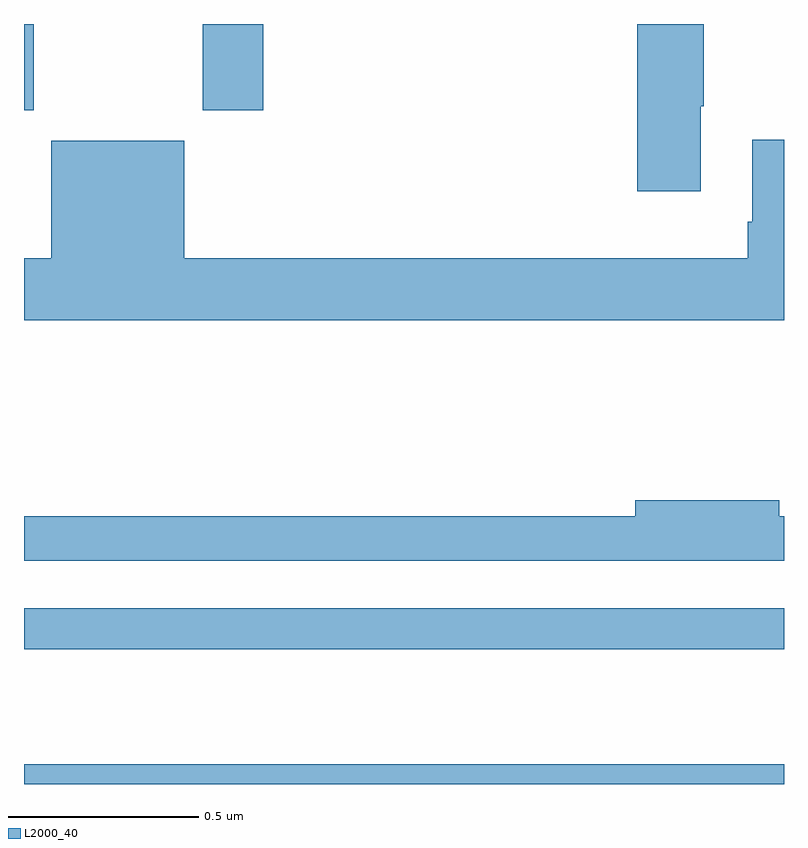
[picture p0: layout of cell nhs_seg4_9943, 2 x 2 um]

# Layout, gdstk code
import gdstk
lib = gdstk.Library(unit=1e-6, precision=1e-09)
def R(c, l, rs):  # rectangles x0, y0, x1, y1
    for r in rs: c.add(gdstk.rectangle(r[:2], r[2:], *l))
def P(c, l, *ps):  # polygons
    for p in ps: c.add(gdstk.Polygon(p, *l))
L2000_40 = (2000, 40)

nhs_seg4_9943 = lib.new_cell('nhs_seg4_9943')
R(nhs_seg4_9943, L2000_40, [(233,828.9,235,828.952), (233,829.254,235,829.362), (233,830.673,233.025,830.9), (233.47,830.673,233.63,830.9)])
P(nhs_seg4_9943, L2000_40, [(234.781,830.683),(234.789,830.683),(234.789,830.9),(234.614,830.9),(234.614,830.46),(234.781,830.46)],
  [(235,830.596),(234.917,830.596),(234.917,830.38),(234.905,830.38),(234.905,830.284),(233.422,830.284),(233.422,830.593),(233.072,830.593),(233.072,830.284),(233,830.284),(233,830.12),(235,830.12)],
  [(235,829.604),(234.988,829.604),(234.988,829.647),(234.608,829.647),(234.608,829.604),(233,829.604),(233,829.488),(235,829.488)])

lib.write_gds('nhs_seg4_9943.gds')
